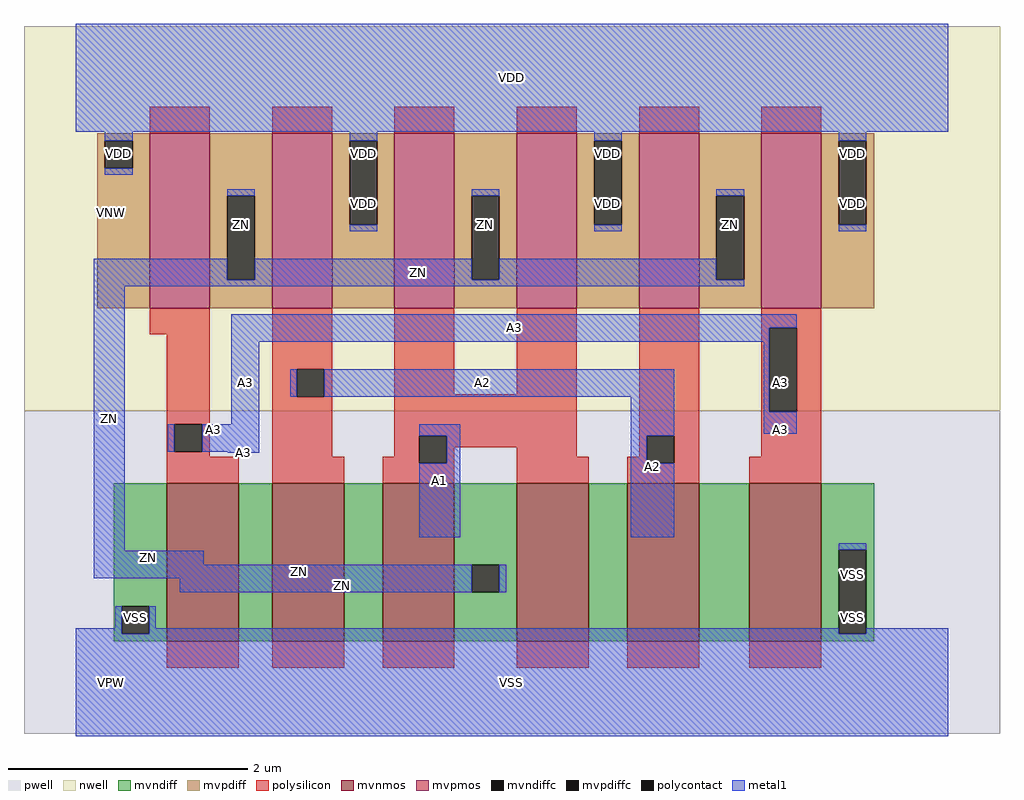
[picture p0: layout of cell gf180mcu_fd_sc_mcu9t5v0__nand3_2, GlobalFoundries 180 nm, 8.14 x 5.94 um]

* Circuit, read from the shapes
.subckt gf180mcu_fd_sc_mcu9t5v0__nand3_2 A1 A2 A3 ZN VDD VNW VPW VSS
XM1 n1 A3 VSS VPW nfet_06v0 w=1.32u l=0.6u
XM2 n2 A2 n1 VPW nfet_06v0 w=1.32u l=0.6u
XM3 ZN A1 n2 VPW nfet_06v0 w=1.32u l=0.6u
XM4 n3 A1 ZN VPW nfet_06v0 w=1.32u l=0.6u
XM5 n4 A2 n3 VPW nfet_06v0 w=1.32u l=0.6u
XM6 VSS A3 n4 VPW nfet_06v0 w=1.32u l=0.6u
XM7 ZN A3 VDD VNW pfet_06v0 w=1.46u l=0.5u m=2
XM8 VDD A2 ZN VNW pfet_06v0 w=1.46u l=0.5u m=2
XM9 ZN A1 VDD VNW pfet_06v0 w=1.46u l=0.5u m=2
.ends

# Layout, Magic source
magic
tech gf180mcuD
magscale 1 10
<< nwell >>
rect -86 453 1542 1094
<< pwell >>
rect -86 -86 1542 453
<< mvnmos >>
rect 152 68 272 332
rect 328 68 448 332
rect 512 68 632 332
rect 736 68 856 332
rect 920 68 1040 332
rect 1124 68 1244 332
<< mvpmos >>
rect 124 624 224 916
rect 328 624 428 916
rect 532 624 632 916
rect 736 624 836 916
rect 940 624 1040 916
rect 1144 624 1244 916
<< mvndiff >>
rect 64 127 152 332
rect 64 81 77 127
rect 123 81 152 127
rect 64 68 152 81
rect 272 68 328 332
rect 448 68 512 332
rect 632 196 736 332
rect 632 150 661 196
rect 707 150 736 196
rect 632 68 736 150
rect 856 68 920 332
rect 1040 68 1124 332
rect 1244 221 1332 332
rect 1244 81 1273 221
rect 1319 81 1332 221
rect 1244 68 1332 81
<< mvpdiff >>
rect 36 903 124 916
rect 36 857 49 903
rect 95 857 124 903
rect 36 624 124 857
rect 224 811 328 916
rect 224 671 253 811
rect 299 671 328 811
rect 224 624 328 671
rect 428 903 532 916
rect 428 763 457 903
rect 503 763 532 903
rect 428 624 532 763
rect 632 811 736 916
rect 632 671 661 811
rect 707 671 736 811
rect 632 624 736 671
rect 836 903 940 916
rect 836 763 865 903
rect 911 763 940 903
rect 836 624 940 763
rect 1040 811 1144 916
rect 1040 671 1069 811
rect 1115 671 1144 811
rect 1040 624 1144 671
rect 1244 903 1332 916
rect 1244 763 1273 903
rect 1319 763 1332 903
rect 1244 624 1332 763
<< mvndiffc >>
rect 77 81 123 127
rect 661 150 707 196
rect 1273 81 1319 221
<< mvpdiffc >>
rect 49 857 95 903
rect 253 671 299 811
rect 457 763 503 903
rect 661 671 707 811
rect 865 763 911 903
rect 1069 671 1115 811
rect 1273 763 1319 903
<< polysilicon >>
rect 124 916 224 960
rect 328 916 428 960
rect 532 916 632 960
rect 736 916 836 960
rect 940 916 1040 960
rect 1144 916 1244 960
rect 124 580 224 624
rect 152 430 224 580
rect 152 384 165 430
rect 211 384 224 430
rect 152 376 224 384
rect 328 522 428 624
rect 328 476 369 522
rect 415 476 428 522
rect 328 376 428 476
rect 532 480 632 624
rect 736 480 836 624
rect 532 411 836 480
rect 532 376 573 411
rect 152 332 272 376
rect 328 332 448 376
rect 512 365 573 376
rect 619 392 836 411
rect 619 365 632 392
rect 512 332 632 365
rect 736 376 836 392
rect 940 411 1040 624
rect 940 376 953 411
rect 736 332 856 376
rect 920 365 953 376
rect 999 365 1040 411
rect 1144 591 1244 624
rect 1144 451 1157 591
rect 1203 451 1244 591
rect 1144 376 1244 451
rect 920 332 1040 365
rect 1124 332 1244 376
rect 152 24 272 68
rect 328 24 448 68
rect 512 24 632 68
rect 736 24 856 68
rect 920 24 1040 68
rect 1124 24 1244 68
<< polycontact >>
rect 165 384 211 430
rect 369 476 415 522
rect 573 365 619 411
rect 953 365 999 411
rect 1157 451 1203 591
<< metal1 >>
rect 0 918 1456 1098
rect 49 903 95 918
rect 49 846 95 857
rect 457 903 503 918
rect 253 811 299 822
rect 30 671 253 706
rect 865 903 911 918
rect 457 752 503 763
rect 661 811 707 822
rect 299 671 661 706
rect 1273 903 1319 918
rect 865 752 911 763
rect 1069 811 1115 822
rect 707 671 1069 706
rect 1273 752 1319 763
rect 30 660 1115 671
rect 30 219 82 660
rect 260 591 1203 614
rect 260 568 1157 591
rect 260 430 306 568
rect 358 476 369 522
rect 415 476 999 522
rect 154 384 165 430
rect 211 384 306 430
rect 254 383 306 384
rect 573 411 642 430
rect 619 365 642 411
rect 573 242 642 365
rect 926 411 999 476
rect 1148 451 1157 568
rect 1148 414 1203 451
rect 926 365 953 411
rect 926 242 999 365
rect 1273 221 1319 232
rect 30 196 214 219
rect 30 173 661 196
rect 174 150 661 173
rect 707 150 718 196
rect 66 90 77 127
rect 0 81 77 90
rect 123 90 134 127
rect 123 81 1273 90
rect 1319 81 1456 90
rect 0 -90 1456 81
<< labels >>
flabel metal1 s 573 242 642 430 0 FreeSans 200 0 0 0 A1
port 1 nsew default input
flabel metal1 s 358 476 999 522 0 FreeSans 200 0 0 0 A2
port 2 nsew default input
flabel metal1 s 260 568 1203 614 0 FreeSans 200 0 0 0 A3
port 3 nsew default input
flabel metal1 s 0 918 1456 1098 0 FreeSans 200 0 0 0 VDD
port 5 nsew power bidirectional abutment
flabel metal1 s 1273 127 1319 232 0 FreeSans 200 0 0 0 VSS
port 8 nsew ground bidirectional abutment
flabel metal1 s 1069 706 1115 822 0 FreeSans 200 0 0 0 ZN
port 4 nsew default output
flabel nwell s 10 734 110 834 0 FreeSans 400 0 0 0 VNW
port 6 nsew power bidirectional
flabel pwell s 10 -50 110 50 0 FreeSans 400 0 0 0 VPW
port 7 nsew ground bidirectional
rlabel metal1 s 926 242 999 476 1 A2
port 2 nsew default input
rlabel metal1 s 1148 430 1203 568 1 A3
port 3 nsew default input
rlabel metal1 s 260 430 306 568 1 A3
port 3 nsew default input
rlabel metal1 s 1148 414 1203 430 1 A3
port 3 nsew default input
rlabel metal1 s 154 414 306 430 1 A3
port 3 nsew default input
rlabel metal1 s 154 384 306 414 1 A3
port 3 nsew default input
rlabel metal1 s 254 383 306 384 1 A3
port 3 nsew default input
rlabel metal1 s 661 706 707 822 1 ZN
port 4 nsew default output
rlabel metal1 s 253 706 299 822 1 ZN
port 4 nsew default output
rlabel metal1 s 30 660 1115 706 1 ZN
port 4 nsew default output
rlabel metal1 s 30 219 82 660 1 ZN
port 4 nsew default output
rlabel metal1 s 30 196 214 219 1 ZN
port 4 nsew default output
rlabel metal1 s 30 173 718 196 1 ZN
port 4 nsew default output
rlabel metal1 s 174 150 718 173 1 ZN
port 4 nsew default output
rlabel metal1 s 1273 846 1319 918 1 VDD
port 5 nsew power bidirectional abutment
rlabel metal1 s 865 846 911 918 1 VDD
port 5 nsew power bidirectional abutment
rlabel metal1 s 457 846 503 918 1 VDD
port 5 nsew power bidirectional abutment
rlabel metal1 s 49 846 95 918 1 VDD
port 5 nsew power bidirectional abutment
rlabel metal1 s 1273 752 1319 846 1 VDD
port 5 nsew power bidirectional abutment
rlabel metal1 s 865 752 911 846 1 VDD
port 5 nsew power bidirectional abutment
rlabel metal1 s 457 752 503 846 1 VDD
port 5 nsew power bidirectional abutment
rlabel metal1 s 1273 90 1319 127 1 VSS
port 8 nsew ground bidirectional abutment
rlabel metal1 s 66 90 134 127 1 VSS
port 8 nsew ground bidirectional abutment
rlabel metal1 s 0 -90 1456 90 1 VSS
port 8 nsew ground bidirectional abutment
<< properties >>
string FIXED_BBOX 0 0 1456 1008
string GDS_END 51480
string GDS_FILE $PDKPATH/libs.ref/gf180mcu_fd_sc_mcu9t5v0/gds/gf180mcu_fd_sc_mcu9t5v0.gds
string GDS_START 47302
string LEFclass core
string LEFsite GF018hv5v_green_sc9
string LEFsymmetry X Y
<< end >>
